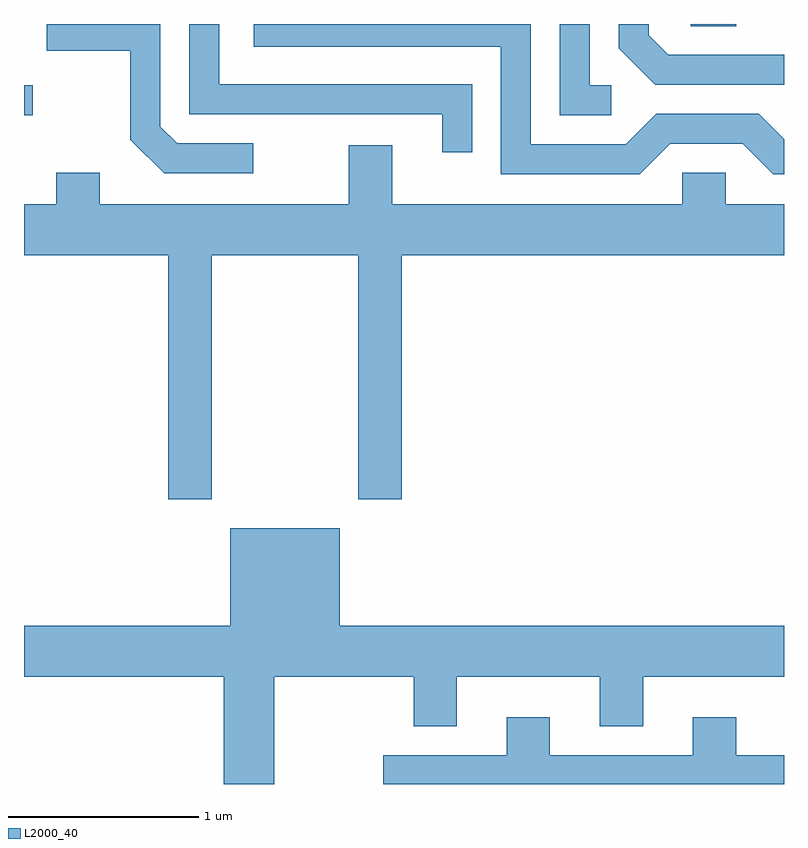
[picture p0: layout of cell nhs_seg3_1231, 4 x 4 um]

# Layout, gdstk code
import gdstk
lib = gdstk.Library(unit=1e-6, precision=1e-09)
def R(c, l, rs):  # rectangles x0, y0, x1, y1
    for r in rs: c.add(gdstk.rectangle(r[:2], r[2:], *l))
def P(c, l, *ps):  # polygons
    for p in ps: c.add(gdstk.Polygon(p, *l))
L2000_40 = (2000, 40)

nhs_seg3_1231 = lib.new_cell('nhs_seg3_1231')
R(nhs_seg3_1231, L2000_40, [(221.611,1133.411,221.658,1133.569), (225.121,1133.881,225.359,1133.892)])
P(nhs_seg3_1231, L2000_40, [(225.012,1133.261),(225.394,1133.261),(225.554,1133.101),(225.611,1133.101),(225.611,1133.285),(225.477,1133.419),(224.939,1133.419),(224.779,1133.259),(224.279,1133.259),(224.279,1133.892),(222.821,1133.892),(222.821,1133.771),(224.121,1133.771),(224.121,1133.101),(224.852,1133.101)],
  [(224.703,1133.569),(224.589,1133.569),(224.589,1133.892),(224.431,1133.892),(224.431,1133.411),(224.703,1133.411)],
  [(223.969,1133.574),(222.639,1133.574),(222.639,1133.892),(222.481,1133.892),(222.481,1133.416),(223.811,1133.416),(223.811,1133.218),(223.969,1133.218)],
  [(225.611,1133.729),(225.002,1133.729),(224.899,1133.832),(224.899,1133.892),(224.741,1133.892),(224.741,1133.764),(224.934,1133.571),(225.611,1133.571)],
  [(222.818,1133.264),(222.417,1133.264),(222.329,1133.352),(222.329,1133.892),(221.731,1133.892),(221.731,1133.751),(222.171,1133.751),(222.171,1133.284),(222.349,1133.106),(222.818,1133.106)],
  [(222.599,1132.676),(223.371,1132.676),(223.371,1131.391),(223.599,1131.391),(223.599,1132.676),(225.611,1132.676),(225.611,1132.944),(225.304,1132.944),(225.304,1133.109),(225.076,1133.109),(225.076,1132.944),(223.549,1132.944),(223.549,1133.254),(223.321,1133.254),(223.321,1132.944),(222.009,1132.944),(222.009,1133.109),(221.781,1133.109),(221.781,1132.944),(221.611,1132.944),(221.611,1132.676),(222.371,1132.676),(222.371,1131.391),(222.599,1131.391)],
  [(222.929,1130.456),(223.661,1130.456),(223.661,1130.196),(223.889,1130.196),(223.889,1130.456),(224.641,1130.456),(224.641,1130.196),(224.869,1130.196),(224.869,1130.456),(225.611,1130.456),(225.611,1130.724),(223.274,1130.724),(223.274,1131.239),(222.696,1131.239),(222.696,1130.724),(221.611,1130.724),(221.611,1130.456),(222.661,1130.456),(222.661,1129.892),(222.929,1129.892)],
  [(225.611,1130.044),(225.359,1130.044),(225.359,1130.244),(225.131,1130.244),(225.131,1130.044),(224.379,1130.044),(224.379,1130.244),(224.151,1130.244),(224.151,1130.044),(223.501,1130.044),(223.501,1129.892),(225.611,1129.892)])

lib.write_gds('nhs_seg3_1231.gds')
